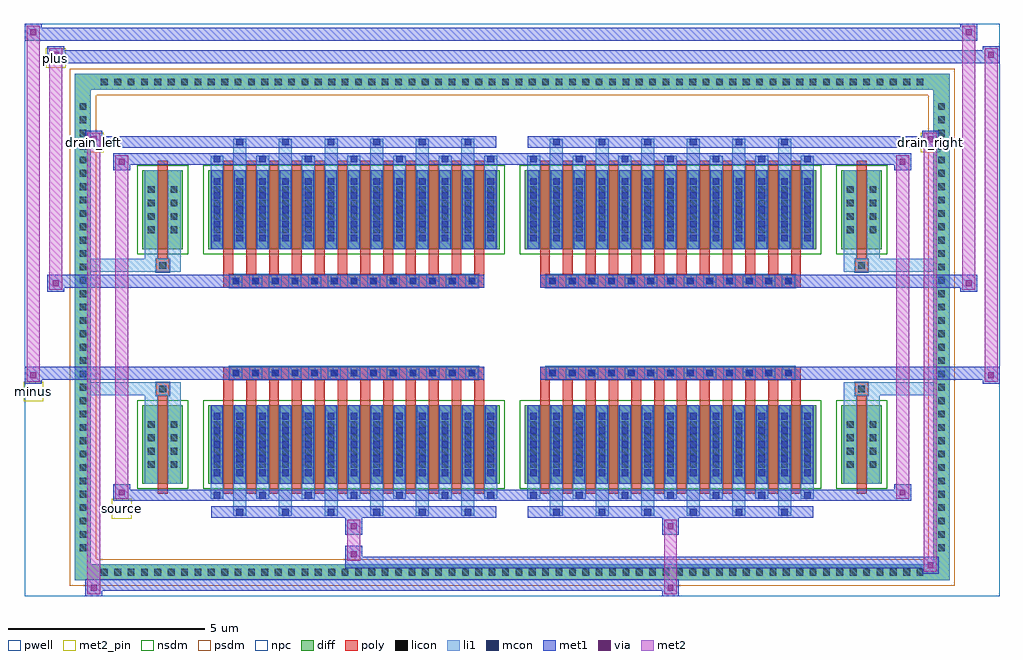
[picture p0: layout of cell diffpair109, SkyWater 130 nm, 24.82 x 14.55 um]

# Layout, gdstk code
import gdstk
lib = gdstk.Library(unit=1e-6, precision=5e-09)
def R(c, l, rs):  # rectangles x0, y0, x1, y1
    for r in rs: c.add(gdstk.rectangle(r[:2], r[2:], *l))
def A(c, l, x, y, w, h, nx, ny, dx, dy):  # array of equal rectangles
    R(c, l, [(x+i*dx, y+j*dy, x+i*dx+w, y+j*dy+h) for i in range(nx) for j in range(ny)])
def P(c, l, *ps):  # polygons
    for p in ps: c.add(gdstk.Polygon(p, *l))
pwell = (64, 44)
diff = (65, 20)
poly = (66, 20)
licon = (66, 44)
li1 = (67, 20)
mcon = (67, 44)
met1 = (68, 20)
via = (68, 44)
met2_pin = (69, 16)
met2 = (69, 20)
nsdm = (93, 44)
psdm = (94, 20)
npc = (95, 20)

diffpair109 = lib.new_cell('diffpair109')
R(diffpair109, pwell, [(-12.39,-6.84,12.39,7.71), (-9.71,-5.03,-0.01,-0.805), (0.01,-5.03,9.71,-0.805), (-9.71,0.805,-0.01,5.03), (0.01,0.805,9.71,5.03)])
A(diffpair109, diff, -10.575, -6.44, 0.41, 0.41, 62, 2, 0.34, 12.47)
A(diffpair109, diff, -11.12, -5.815, 0.41, 0.41, 1, 34, 0, 0.34)
A(diffpair109, diff, 10.71, -5.815, 0.41, 0.41, 1, 34, 0, 0.34)
R(diffpair109, diff, [(-10.575,-6.44,10.575,-6.03), (-11.12,-5.815,-10.71,5.815), (10.71,-5.815,11.12,5.815), (-9.4,-3.985,-8.37,-1.985), (-7.73,-3.985,-0.32,-1.985), (0.32,-3.985,7.73,-1.985), (8.37,-3.985,9.4,-1.985), (-9.4,1.985,-8.37,3.985), (-7.73,1.985,-0.32,3.985), (0.32,1.985,7.73,3.985), (8.37,1.985,9.4,3.985), (-10.575,6.03,10.575,6.44)])
P(diffpair109, diff, [(11.12,6.44),(-11.12,6.44),(-11.12,-6.03),(-10.71,-6.03),(-10.71,6.03),(10.71,6.03),(10.71,-6.03),(-10.71,-6.03),(-11.12,-6.03),(-11.12,-6.44),(11.12,-6.44)])
A(diffpair109, poly, -7.34, -4.235, 0.25, 2.5, 12, 2, 0.58, 5.97)
A(diffpair109, poly, 0.71, -4.235, 0.25, 2.5, 12, 2, 0.58, 5.97)
A(diffpair109, poly, -7.34, -1.735, 0.25, 0.4, 12, 2, 0.58, 3.07)
A(diffpair109, poly, 0.71, -1.735, 0.25, 0.4, 12, 2, 0.58, 3.07)
A(diffpair109, poly, -7.19, -1.335, 0.33, 0.33, 13, 2, 0.5, 2.34)
A(diffpair109, poly, 0.86, -1.335, 0.33, 0.33, 13, 2, 0.5, 2.34)
R(diffpair109, poly, [(-9.01,-4.235,-8.76,-1.735), (8.76,-4.235,9.01,-1.735), (-9.05,-1.735,-8.72,-1.405), (-9.05,-1.735,-8.72,-1.405), (8.72,-1.735,9.05,-1.405), (8.72,-1.735,9.05,-1.405), (-7.34,-1.335,-0.71,-1.005), (0.71,-1.335,7.34,-1.005), (-7.34,1.005,-0.71,1.335), (0.71,1.005,7.34,1.335), (-9.05,1.405,-8.72,1.735), (-9.05,1.405,-8.72,1.735), (8.72,1.405,9.05,1.735), (8.72,1.405,9.05,1.735), (-9.01,1.735,-8.76,4.235), (8.76,1.735,9.01,4.235)])
A(diffpair109, licon, -10.455, -6.32, 0.17, 0.17, 62, 2, 0.34, 12.47)
A(diffpair109, licon, -11, -5.695, 0.17, 0.17, 1, 34, 0, 0.34)
A(diffpair109, licon, 10.83, -5.695, 0.17, 0.17, 1, 34, 0, 0.34)
A(diffpair109, licon, -9.26, -3.58, 0.17, 0.17, 1, 4, 0, 0.34)
A(diffpair109, licon, -8.68, -3.58, 0.17, 0.17, 1, 4, 0, 0.34)
A(diffpair109, licon, -7.59, -3.58, 0.17, 0.17, 13, 4, 0.58, 0.34)
A(diffpair109, licon, 0.46, -3.58, 0.17, 0.17, 13, 4, 0.58, 0.34)
A(diffpair109, licon, 8.51, -3.58, 0.17, 0.17, 1, 4, 0, 0.34)
A(diffpair109, licon, 9.09, -3.58, 0.17, 0.17, 1, 4, 0, 0.34)
A(diffpair109, licon, -7.11, -1.255, 0.17, 0.17, 13, 2, 0.5, 2.34)
A(diffpair109, licon, 0.94, -1.255, 0.17, 0.17, 13, 2, 0.5, 2.34)
A(diffpair109, licon, -9.26, 2.39, 0.17, 0.17, 1, 4, 0, 0.34)
A(diffpair109, licon, -8.68, 2.39, 0.17, 0.17, 1, 4, 0, 0.34)
A(diffpair109, licon, -7.59, 2.39, 0.17, 0.17, 13, 4, 0.58, 0.34)
A(diffpair109, licon, 0.46, 2.39, 0.17, 0.17, 13, 4, 0.58, 0.34)
A(diffpair109, licon, 8.51, 2.39, 0.17, 0.17, 1, 4, 0, 0.34)
A(diffpair109, licon, 9.09, 2.39, 0.17, 0.17, 1, 4, 0, 0.34)
R(diffpair109, licon, [(-8.97,-1.655,-8.8,-1.485), (8.8,-1.655,8.97,-1.485), (-8.97,1.485,-8.8,1.655), (8.8,1.485,8.97,1.655)])
A(diffpair109, li1, -10.535, -6.4, 0.33, 0.33, 62, 2, 0.34, 12.47)
A(diffpair109, li1, -11.08, -5.775, 0.33, 0.33, 1, 34, 0, 0.34)
A(diffpair109, li1, 10.75, -5.775, 0.33, 0.33, 1, 34, 0, 0.34)
A(diffpair109, li1, -7.09, -4.79, 0.33, 0.805, 6, 2, 1.16, 8.775)
A(diffpair109, li1, -7.01, -4.79, 0.17, 0.17, 6, 2, 1.16, 9.41)
A(diffpair109, li1, 0.96, -4.79, 0.33, 0.805, 6, 2, 1.16, 8.775)
A(diffpair109, li1, 1.04, -4.79, 0.17, 0.17, 6, 2, 1.16, 9.41)
A(diffpair109, li1, -7.67, -4.36, 0.33, 0.375, 7, 2, 1.16, 8.345)
A(diffpair109, li1, -7.59, -4.36, 0.17, 0.17, 7, 2, 1.16, 8.55)
A(diffpair109, li1, 0.38, -4.36, 0.33, 0.375, 7, 2, 1.16, 8.345)
A(diffpair109, li1, 0.46, -4.36, 0.17, 0.17, 7, 2, 1.16, 8.55)
A(diffpair109, li1, -7.67, -3.985, 0.33, 2, 13, 2, 0.58, 5.97)
A(diffpair109, li1, 0.38, -3.985, 0.33, 2, 13, 2, 0.58, 5.97)
A(diffpair109, li1, -7.59, -3.79, 0.17, 0.17, 13, 5, 0.58, 0.36)
A(diffpair109, li1, -7.59, -3.79, 0.17, 1.61, 13, 2, 0.58, 5.97)
A(diffpair109, li1, 0.46, -3.79, 0.17, 0.17, 13, 5, 0.58, 0.36)
A(diffpair109, li1, 0.46, -3.79, 0.17, 1.61, 13, 2, 0.58, 5.97)
A(diffpair109, li1, -9.34, -3.66, 0.33, 0.33, 1, 4, 0, 0.34)
A(diffpair109, li1, -8.76, -3.66, 0.33, 0.33, 1, 4, 0, 0.34)
A(diffpair109, li1, -7.67, -3.66, 0.33, 0.33, 13, 4, 0.58, 0.34)
A(diffpair109, li1, 0.38, -3.66, 0.33, 0.33, 13, 4, 0.58, 0.34)
A(diffpair109, li1, 8.43, -3.66, 0.33, 0.33, 1, 4, 0, 0.34)
A(diffpair109, li1, 9.01, -3.66, 0.33, 0.33, 1, 4, 0, 0.34)
A(diffpair109, li1, -7.19, -1.335, 0.33, 0.33, 13, 2, 0.5, 2.34)
A(diffpair109, li1, 0.86, -1.335, 0.33, 0.33, 13, 2, 0.5, 2.34)
A(diffpair109, li1, -7.59, 2.18, 0.17, 0.17, 13, 5, 0.58, 0.36)
A(diffpair109, li1, 0.46, 2.18, 0.17, 0.17, 13, 5, 0.58, 0.36)
A(diffpair109, li1, -9.34, 2.31, 0.33, 0.33, 1, 4, 0, 0.34)
A(diffpair109, li1, -8.76, 2.31, 0.33, 0.33, 1, 4, 0, 0.34)
A(diffpair109, li1, -7.67, 2.31, 0.33, 0.33, 13, 4, 0.58, 0.34)
A(diffpair109, li1, 0.38, 2.31, 0.33, 0.33, 13, 4, 0.58, 0.34)
A(diffpair109, li1, 8.43, 2.31, 0.33, 0.33, 1, 4, 0, 0.34)
A(diffpair109, li1, 9.01, 2.31, 0.33, 0.33, 1, 4, 0, 0.34)
R(diffpair109, li1, [(-11.12,-6.44,-10.71,-6.03), (-11.12,-6.44,-10.71,-6.03), (-10.71,-6.44,10.71,-6.03), (10.71,-6.44,11.12,-6.03), (10.71,-6.44,11.12,-6.03), (-11.12,-6.03,-10.71,6.03), (10.71,-6.03,11.12,6.03), (-9.34,-3.985,-9.01,-1.985), (-8.76,-3.985,-8.43,-1.985), (8.43,-3.985,8.76,-1.985), (9.01,-3.985,9.34,-1.985), (-9.34,-1.985,-9.01,-1.405), (-8.76,-1.985,-8.43,-1.405), (8.43,-1.985,8.76,-1.405), (9.01,-1.985,9.34,-1.405), (-11.12,-1.735,-9.05,-1.405), (-9.34,-1.735,-9.05,-1.405), (-9.05,-1.735,-8.72,-1.405), (-8.72,-1.735,-8.43,-1.405), (8.43,-1.735,8.72,-1.405), (8.72,-1.735,9.05,-1.405), (8.72,-1.735,11.12,-1.405), (9.05,-1.735,9.34,-1.405), (-11.12,1.405,-9.05,1.735), (-9.34,1.405,-9.05,1.735), (-9.34,1.405,-9.01,1.985), (-9.05,1.405,-8.72,1.735), (-8.76,1.405,-8.43,1.985), (-8.72,1.405,-8.43,1.735), (8.43,1.405,8.72,1.735), (8.43,1.405,8.76,1.985), (8.72,1.405,9.05,1.735), (8.72,1.405,11.12,1.735), (9.01,1.405,9.34,1.985), (9.05,1.405,9.34,1.735), (-9.34,1.985,-9.01,3.985), (-8.76,1.985,-8.43,3.985), (8.43,1.985,8.76,3.985), (9.01,1.985,9.34,3.985), (-11.12,6.03,-10.71,6.44), (-11.12,6.03,-10.71,6.44), (-10.71,6.03,10.71,6.44), (10.71,6.03,11.12,6.44), (10.71,6.03,11.12,6.44)])
A(diffpair109, mcon, -7.01, -4.79, 0.17, 0.17, 6, 2, 1.16, 9.41)
A(diffpair109, mcon, 1.04, -4.79, 0.17, 0.17, 6, 2, 1.16, 9.41)
A(diffpair109, mcon, -7.59, -4.36, 0.17, 0.17, 7, 2, 1.16, 8.55)
A(diffpair109, mcon, 0.46, -4.36, 0.17, 0.17, 7, 2, 1.16, 8.55)
A(diffpair109, mcon, -7.59, -3.79, 0.17, 0.17, 13, 5, 0.58, 0.36)
A(diffpair109, mcon, 0.46, -3.79, 0.17, 0.17, 13, 5, 0.58, 0.36)
A(diffpair109, mcon, -7.11, -1.255, 0.17, 0.17, 13, 2, 0.5, 2.34)
A(diffpair109, mcon, 0.94, -1.255, 0.17, 0.17, 13, 2, 0.5, 2.34)
A(diffpair109, mcon, -7.59, 2.18, 0.17, 0.17, 13, 5, 0.58, 0.36)
A(diffpair109, mcon, 0.46, 2.18, 0.17, 0.17, 13, 5, 0.58, 0.36)
A(diffpair109, met1, -7.07, -4.85, 0.29, 0.29, 6, 2, 1.16, 9.41)
A(diffpair109, met1, 0.98, -4.85, 0.29, 0.29, 6, 2, 1.16, 9.41)
A(diffpair109, met1, -7.65, -4.42, 0.29, 0.29, 7, 2, 1.16, 8.55)
A(diffpair109, met1, 0.4, -4.42, 0.29, 0.29, 7, 2, 1.16, 8.55)
A(diffpair109, met1, -7.65, -3.985, 0.29, 2, 13, 2, 0.58, 5.97)
A(diffpair109, met1, 0.4, -3.985, 0.29, 2, 13, 2, 0.58, 5.97)
A(diffpair109, met1, -7.65, -3.85, 0.29, 0.29, 13, 5, 0.58, 0.36)
A(diffpair109, met1, 0.4, -3.85, 0.29, 0.29, 13, 5, 0.58, 0.36)
A(diffpair109, met1, -7.17, -1.315, 0.29, 0.29, 13, 2, 0.5, 2.34)
A(diffpair109, met1, 0.88, -1.315, 0.29, 0.29, 13, 2, 0.5, 2.34)
A(diffpair109, met1, -7.65, 2.12, 0.29, 0.29, 13, 5, 0.58, 0.36)
A(diffpair109, met1, 0.4, 2.12, 0.29, 0.29, 13, 5, 0.58, 0.36)
R(diffpair109, met1, [(-10.85,-6.84,-10.42,-6.41), (3.81,-6.84,4.24,-6.41), (-10.85,-6.7,4.24,-6.41), (10.42,-6.27,10.85,-5.84), (-4.24,-6.13,10.85,-5.84), (-4.24,-5.99,-3.81,-5.56), (-4.24,-5.28,-3.81,-4.85), (3.81,-5.28,4.24,-4.85), (-7.65,-4.85,-0.4,-4.56), (0.4,-4.85,7.65,-4.56), (-10.14,-4.42,-9.71,-3.99), (-10.14,-4.42,-7.65,-4.13), (-7.65,-4.42,-0.4,-4.13), (-0.4,-4.42,0.4,-4.13), (0.4,-4.42,7.65,-4.13), (7.65,-4.42,10.14,-4.13), (9.71,-4.42,10.14,-3.99), (-12.39,-1.435,-11.96,-1.005), (11.96,-1.435,12.39,-1.005), (-12.39,-1.335,-0.71,-1.005), (-7.34,-1.335,-0.71,-1.005), (0.71,-1.335,7.34,-1.005), (0.71,-1.335,12.39,-1.005), (-11.82,0.905,-11.39,1.335), (11.39,0.905,11.82,1.335), (-11.82,1.005,-7.34,1.335), (-7.34,1.005,-0.71,1.335), (0.71,1.005,7.34,1.335), (7.34,1.005,11.82,1.335), (-10.14,3.99,-9.71,4.42), (9.71,3.99,10.14,4.42), (-10.14,4.13,-7.65,4.42), (-7.65,4.13,-0.4,4.42), (-0.4,4.13,0.4,4.42), (0.4,4.13,7.65,4.42), (7.65,4.13,10.14,4.42), (-10.85,4.56,-10.42,4.99), (-10.85,4.56,-7.65,4.85), (-7.65,4.56,-0.4,4.85), (0.4,4.56,7.65,4.85), (7.65,4.56,10.85,4.85), (10.42,4.56,10.85,4.99), (-11.82,6.71,-11.39,7.14), (-11.82,6.71,-9.71,7.04), (-9.71,6.71,9.71,7.04), (9.71,6.71,12.39,7.04), (11.96,6.71,12.39,7.14), (-12.39,7.28,-11.96,7.71), (-12.39,7.28,-9.71,7.61), (-9.71,7.28,9.71,7.61), (9.71,7.28,11.82,7.61), (11.39,7.28,11.82,7.71)])
R(diffpair109, via, [(-10.71,-6.7,-10.56,-6.55), (3.95,-6.7,4.1,-6.55), (10.56,-6.13,10.71,-5.98), (-4.1,-5.85,-3.95,-5.7), (-4.1,-5.14,-3.95,-4.99), (3.95,-5.14,4.1,-4.99), (-10,-4.28,-9.85,-4.13), (9.85,-4.28,10,-4.13), (-12.25,-1.295,-12.1,-1.145), (12.1,-1.295,12.25,-1.145), (-11.68,1.045,-11.53,1.195), (11.53,1.045,11.68,1.195), (-10,4.13,-9.85,4.28), (9.85,4.13,10,4.28), (-10.71,4.7,-10.56,4.85), (10.56,4.7,10.71,4.85), (-11.68,6.85,-11.53,7), (12.1,6.85,12.25,7), (-12.25,7.42,-12.1,7.57), (11.53,7.42,11.68,7.57)])
R(diffpair109, met2_pin, [(-10.175,-4.87,-9.675,-4.37), (-12.425,-1.885,-11.925,-1.385), (-10.885,4.44,-10.385,4.94), (10.385,4.44,10.885,4.94), (-11.855,6.59,-11.355,7.09)])
R(diffpair109, met2, [(-10.8,-6.79,-10.47,-6.46), (-10.8,-6.79,-10.47,4.94), (3.86,-6.79,4.19,-6.46), (3.86,-6.46,4.19,-5.23), (10.47,-6.22,10.8,-5.89), (10.47,-6.22,10.8,4.94), (-4.19,-5.94,-3.86,-5.61), (-4.19,-5.61,-3.86,-5.23), (-4.19,-5.23,-3.86,-4.9), (3.86,-5.23,4.19,-4.9), (-10.09,-4.37,-9.76,-4.04), (-10.09,-4.37,-9.76,4.37), (9.76,-4.37,10.09,-4.04), (9.76,-4.37,10.09,4.37), (-12.34,-1.385,-12.01,-1.055), (-12.34,-1.385,-12.01,7.66), (12.01,-1.385,12.34,-1.055), (12.01,-1.385,12.34,7.09), (-11.77,0.955,-11.44,1.285), (-11.77,0.955,-11.44,7.09), (11.44,0.955,11.77,1.285), (11.44,0.955,11.77,7.66), (-10.09,4.04,-9.76,4.37), (9.76,4.04,10.09,4.37), (-10.8,4.61,-10.47,4.94), (10.47,4.61,10.8,4.94), (-11.77,6.76,-11.44,7.09), (12.01,6.76,12.34,7.09), (-12.34,7.33,-12.01,7.66), (11.44,7.33,11.77,7.66)])
P(diffpair109, met2, [(12.34,-1.385),(12.34,-1.385),(12.34,-1.055),(12.34,-1.055)],
  [(12.34,6.76),(12.34,6.76),(12.34,7.09),(12.34,7.09)],
  [(-12.01,-1.385),(-12.01,-1.385),(-12.01,-1.055),(-12.01,-1.055)],
  [(-12.01,7.33),(-12.01,7.33),(-12.01,7.66),(-12.01,7.66)],
  [(11.77,0.955),(11.77,0.955),(11.77,1.285),(11.77,1.285)],
  [(11.77,7.33),(11.77,7.33),(11.77,7.66),(11.77,7.66)],
  [(-11.44,0.955),(-11.44,0.955),(-11.44,1.285),(-11.44,1.285)],
  [(-11.44,6.76),(-11.44,6.76),(-11.44,7.09),(-11.44,7.09)],
  [(-10.47,-6.79),(-10.47,-6.79),(-10.47,-6.46),(-10.47,-6.46)],
  [(-10.47,4.61),(-10.47,4.61),(-10.47,4.94),(-10.47,4.94)],
  [(10.8,-6.22),(10.8,-6.22),(10.8,-5.89),(10.8,-5.89)],
  [(10.8,4.61),(10.8,4.61),(10.8,4.94),(10.8,4.94)],
  [(-9.76,-4.37),(-9.76,-4.37),(-9.76,-4.04),(-9.76,-4.04)],
  [(-9.76,4.04),(-9.76,4.04),(-9.76,4.37),(-9.76,4.37)],
  [(10.09,-4.37),(10.09,-4.37),(10.09,-4.04),(10.09,-4.04)],
  [(10.09,4.04),(10.09,4.04),(10.09,4.37),(10.09,4.37)])
R(diffpair109, nsdm, [(-9.53,-4.115,-8.24,-1.855), (-7.86,-4.115,-0.19,-1.855), (0.19,-4.115,7.86,-1.855), (8.24,-4.115,9.53,-1.855), (-9.53,1.855,-8.24,4.115), (-7.86,1.855,-0.19,4.115), (0.19,1.855,7.86,4.115), (8.24,1.855,9.53,4.115)])
P(diffpair109, psdm, [(11.25,6.57),(-11.25,6.57),(-11.25,-5.9),(-10.58,-5.9),(-10.58,5.9),(10.58,5.9),(10.58,-5.9),(-10.58,-5.9),(-11.25,-5.9),(-11.25,-6.57),(11.25,-6.57)])
A(diffpair109, npc, -7.21, -1.355, 0.37, 0.37, 13, 2, 0.5, 2.34)
A(diffpair109, npc, 0.84, -1.355, 0.37, 0.37, 13, 2, 0.5, 2.34)
R(diffpair109, npc, [(-9.07,-1.755,-8.7,-1.385), (8.7,-1.755,9.07,-1.385), (-7.21,-1.355,-6.34,-0.985), (-7.21,-1.355,-6.34,-0.985), (-6.71,-1.355,-5.84,-0.985), (-6.71,-1.355,-5.84,-0.985), (-6.21,-1.355,-5.34,-0.985), (-6.21,-1.355,-5.34,-0.985), (-5.71,-1.355,-4.84,-0.985), (-5.71,-1.355,-4.84,-0.985), (-5.21,-1.355,-4.34,-0.985), (-5.21,-1.355,-4.34,-0.985), (-4.71,-1.355,-3.84,-0.985), (-4.71,-1.355,-3.84,-0.985), (-4.21,-1.355,-3.34,-0.985), (-4.21,-1.355,-3.34,-0.985), (-3.71,-1.355,-2.84,-0.985), (-3.71,-1.355,-2.84,-0.985), (-3.21,-1.355,-2.34,-0.985), (-3.21,-1.355,-2.34,-0.985), (-2.71,-1.355,-1.84,-0.985), (-2.71,-1.355,-1.84,-0.985), (-2.21,-1.355,-1.34,-0.985), (-2.21,-1.355,-1.34,-0.985), (-1.71,-1.355,-0.84,-0.985), (-1.71,-1.355,-0.84,-0.985), (0.84,-1.355,1.71,-0.985), (0.84,-1.355,1.71,-0.985), (1.34,-1.355,2.21,-0.985), (1.34,-1.355,2.21,-0.985), (1.84,-1.355,2.71,-0.985), (1.84,-1.355,2.71,-0.985), (2.34,-1.355,3.21,-0.985), (2.34,-1.355,3.21,-0.985), (2.84,-1.355,3.71,-0.985), (2.84,-1.355,3.71,-0.985), (3.34,-1.355,4.21,-0.985), (3.34,-1.355,4.21,-0.985), (3.84,-1.355,4.71,-0.985), (3.84,-1.355,4.71,-0.985), (4.34,-1.355,5.21,-0.985), (4.34,-1.355,5.21,-0.985), (4.84,-1.355,5.71,-0.985), (4.84,-1.355,5.71,-0.985), (5.34,-1.355,6.21,-0.985), (5.34,-1.355,6.21,-0.985), (5.84,-1.355,6.71,-0.985), (5.84,-1.355,6.71,-0.985), (6.34,-1.355,7.21,-0.985), (6.34,-1.355,7.21,-0.985), (-7.21,0.985,-6.34,1.355), (-7.21,0.985,-6.34,1.355), (-6.71,0.985,-5.84,1.355), (-6.71,0.985,-5.84,1.355), (-6.21,0.985,-5.34,1.355), (-6.21,0.985,-5.34,1.355), (-5.71,0.985,-4.84,1.355), (-5.71,0.985,-4.84,1.355), (-5.21,0.985,-4.34,1.355), (-5.21,0.985,-4.34,1.355), (-4.71,0.985,-3.84,1.355), (-4.71,0.985,-3.84,1.355), (-4.21,0.985,-3.34,1.355), (-4.21,0.985,-3.34,1.355), (-3.71,0.985,-2.84,1.355), (-3.71,0.985,-2.84,1.355), (-3.21,0.985,-2.34,1.355), (-3.21,0.985,-2.34,1.355), (-2.71,0.985,-1.84,1.355), (-2.71,0.985,-1.84,1.355), (-2.21,0.985,-1.34,1.355), (-2.21,0.985,-1.34,1.355), (-1.71,0.985,-0.84,1.355), (-1.71,0.985,-0.84,1.355), (0.84,0.985,1.71,1.355), (0.84,0.985,1.71,1.355), (1.34,0.985,2.21,1.355), (1.34,0.985,2.21,1.355), (1.84,0.985,2.71,1.355), (1.84,0.985,2.71,1.355), (2.34,0.985,3.21,1.355), (2.34,0.985,3.21,1.355), (2.84,0.985,3.71,1.355), (2.84,0.985,3.71,1.355), (3.34,0.985,4.21,1.355), (3.34,0.985,4.21,1.355), (3.84,0.985,4.71,1.355), (3.84,0.985,4.71,1.355), (4.34,0.985,5.21,1.355), (4.34,0.985,5.21,1.355), (4.84,0.985,5.71,1.355), (4.84,0.985,5.71,1.355), (5.34,0.985,6.21,1.355), (5.34,0.985,6.21,1.355), (5.84,0.985,6.71,1.355), (5.84,0.985,6.71,1.355), (6.34,0.985,7.21,1.355), (6.34,0.985,7.21,1.355), (-9.07,1.385,-8.7,1.755), (8.7,1.385,9.07,1.755)])
diffpair109.add(gdstk.Label('minus', (-12.175,-1.635), layer=69, texttype=5))
diffpair109.add(gdstk.Label('drain_right', (10.635,4.69), layer=69, texttype=5))
diffpair109.add(gdstk.Label('drain_left', (-10.635,4.69), layer=69, texttype=5))
diffpair109.add(gdstk.Label('source', (-9.925,-4.62), layer=69, texttype=5))
diffpair109.add(gdstk.Label('plus', (-11.605,6.84), layer=69, texttype=5))

lib.write_gds('diffpair109.gds')
